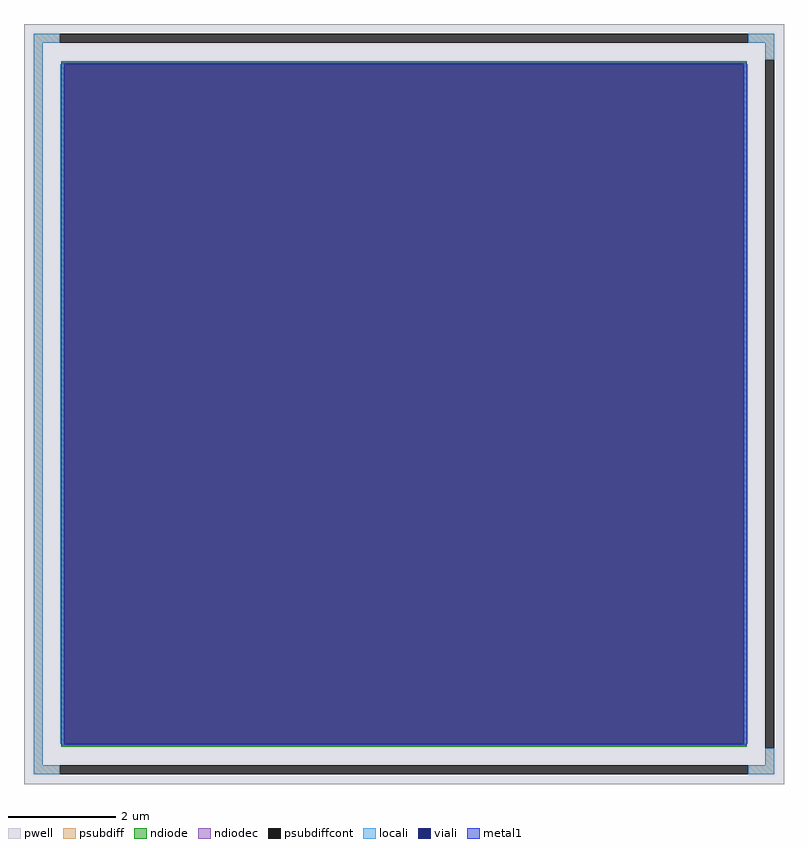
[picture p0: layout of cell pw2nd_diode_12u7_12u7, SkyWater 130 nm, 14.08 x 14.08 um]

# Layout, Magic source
magic
tech sky130A
magscale 1 2
<< pwell >>
rect -53 -53 2763 2763
<< psubdiff >>
rect -17 2693 79 2727
rect 2631 2693 2727 2727
rect -17 17 17 2693
rect 2693 2631 2727 2693
rect 2693 17 2727 79
rect -17 -17 79 17
rect 2631 -17 2727 17
<< psubdiffcont >>
rect 79 2693 2631 2727
rect 2693 79 2727 2631
rect 79 -17 2631 17
<< ndiode >>
rect 85 2613 2625 2625
rect 85 97 97 2613
rect 2613 97 2625 2613
rect 85 85 2625 97
<< ndiodec >>
rect 97 97 2613 2613
<< locali >>
rect -17 2693 79 2727
rect 2631 2693 2727 2727
rect -17 17 17 2693
rect 2693 2631 2727 2693
rect 81 97 97 2613
rect 2613 97 2629 2613
rect 2693 17 2727 79
rect -17 -17 79 17
rect 2631 -17 2727 17
<< viali >>
rect 97 97 2613 2613
<< metal1 >>
rect 85 2613 2625 2619
rect 85 97 97 2613
rect 2613 97 2625 2613
rect 85 91 2625 97
<< end >>
